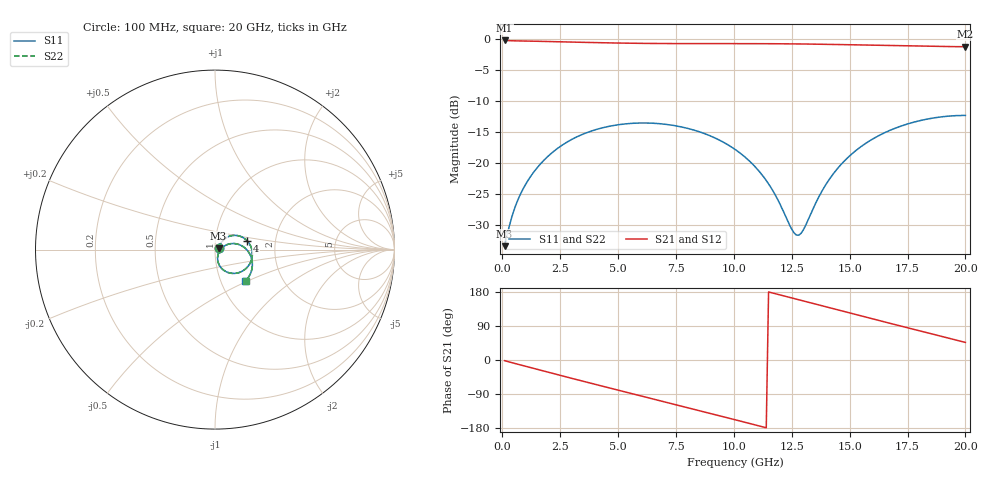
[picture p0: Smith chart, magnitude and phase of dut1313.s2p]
! Touchstone file exported from HFSS 2026.1.0
!  File:  C:/ffzhzh/LocalFiles/Ansys_Project_Files/temp_train_TSV_RDL_1313_1783335598_38820.aedt
!  Generated:  07:09:00 PM Jul  6, 2026
!  Design:  TSV_RDL
!  Project:  temp_train_TSV_RDL_1313_1783335598_38820
! Variables:
!  h_bsmrdl = 5.05um
!  h_ox = 20um
!  h_rdl = 5um
!  h_sub = 98.09um
!  h_tmrdl = 4.22um
!  h_tsv = 98.09um
!  h_via = 3um
!  l_bsmrdl = 456.83um
!  l_sub = 5025.33um
!  l_tmrdl = 783.5um
!  m_sub = 200um
!  pitch = 33.62um
!  r_tsv = 8.84um
!  s_tmrdl = 10um
!  w_bsmrdl = 12.31um
!  w_sub = 500um
!  w_tmrdl = 27.97um
!  x_tsv_center1 = 797.485um
!  x_tsv_center2 = 1266.625um
!  x_tsv_center3 = 2078.095um
!  x_tsv_center4 = 2547.235um
!  x_tsv_center5 = 3358.705um
!  x_tsv_center6 = 3827.845um
# GHz S MA R 50.000000
! Terminal data exported
! Port[1] = TM_RDL1_1_T1
! Port[2] = TM_RDL5_1_T1
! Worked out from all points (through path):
!   200 points, 100 MHz to 20 GHz, reference 50 ohm
!   highest |S21| = -0.17 dB at 100 MHz (marker M1); lowest = -1.2 dB at 20 GHz (marker M2)
!   group delay of S21, straight-line fit = 43.4 ps
!   lowest |S11| = -33.4 dB at 100 MHz (marker M3), VSWR 1.04, Z = 52 + j0.841 ohm
!   |S11| at or under -10 dB: start of sweep to end of sweep
!   |S22| runs from -33.4 to -12.3 dB; largest |S21 - S12| = 1.6e-14
!   S11 on the Smith chart (normalised r, x): 100 MHz: 1.04, +0.02; 4 GHz: 1.43, +0.15; 20 GHz: 1.31, -0.48
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0.1  0.02136 22.2  0.9805 -1.8  0.9805 -1.8  0.02136 22.2
! Gamma 0 0 0 0
! Port Impedance 50 0 50 0
0.4  0.03616 43.6  0.9749 -6.8  0.9749 -6.8  0.03614 43.5
0.6  0.04671 47.6  0.9727 -10.0  0.9727 -10.0  0.04666 47.5
1.3  0.08188 47.8  0.9674 -21.3  0.9674 -21.3  0.08186 47.8
2.3  0.128 38.1  0.9585 -37.3  0.9585 -37.3  0.128 38.1
3.5  0.1721 22.3  0.9466 -56.3  0.9466 -56.3  0.1721 22.3
4  0.1857 15.3  0.942 -64.0  0.942 -64.0  0.1857 15.3
5.4  0.2085 -4.3  0.9318 -85.7  0.9318 -85.7  0.2085 -4.3
6.8  0.2084 -23.8  0.9262 -107.2  0.9262 -107.2  0.2084 -23.8
8.4  0.1821 -45.4  0.9243 -131.9  0.9243 -131.9  0.1821 -45.4
10.1  0.1274 -66.4  0.9244 -158.4  0.9244 -158.4  0.1274 -66.4
10.8  0.0987 -73.0  0.9241 -169.4  0.9241 -169.4  0.09871 -73.1
11.4  0.07245 -76.0  0.9233 -178.9  0.9233 -178.9  0.07245 -76.1
12.7  0.02628 -32.9  0.9194 160.5  0.9194 160.5  0.02615 -33.0
13  0.02887 -5.4  0.9181 155.8  0.9181 155.8  0.02872 -5.3
13.4  0.04193 15.0  0.916 149.4  0.916 149.4  0.0418 15.1
14  0.06838 22.3  0.9124 139.9  0.9124 139.9  0.06827 22.4
14.7  0.1009 19.5  0.9075 128.8  0.9075 128.8  0.1008 19.6
15.7  0.1448 9.7  0.8996 113.1  0.8996 113.1  0.1447 9.8
16.7  0.1827 -2.4  0.8914 97.5  0.8914 97.5  0.1827 -2.3
18.3  0.2261 -23.1  0.8799 72.7  0.8799 72.7  0.2261 -23.0
20  0.2429 -45.7  0.8726 46.4  0.8726 46.4  0.2429 -45.5
